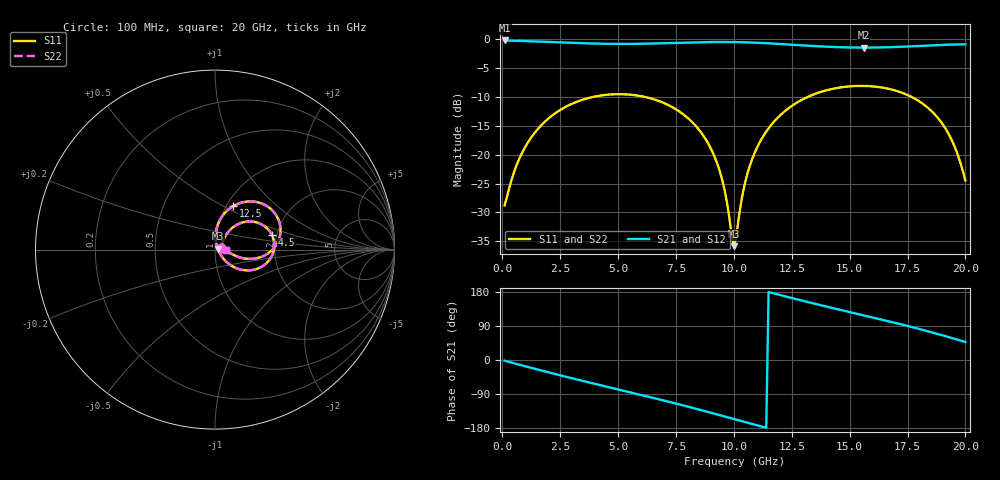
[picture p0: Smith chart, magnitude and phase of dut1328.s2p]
! Touchstone file exported from HFSS 2026.1.0
!  File:  C:/ffzhzh/LocalFiles/Ansys_Project_Files/temp_train_TSV_RDL_1328_1783337720_30076.aedt
!  Generated:  07:42:53 PM Jul  6, 2026
!  Design:  TSV_RDL
!  Project:  temp_train_TSV_RDL_1328_1783337720_30076
! Variables:
!  h_bsmrdl = 3.68um
!  h_ox = 20um
!  h_rdl = 5um
!  h_sub = 64.21um
!  h_tmrdl = 3.4um
!  h_tsv = 64.21um
!  h_via = 3um
!  l_bsmrdl = 300.43um
!  l_sub = 4774.87um
!  l_tmrdl = 842.52um
!  m_sub = 200um
!  pitch = 29.61um
!  r_tsv = 12.28um
!  s_tmrdl = 10um
!  w_bsmrdl = 23.04um
!  w_sub = 500um
!  w_tmrdl = 11.46um
!  x_tsv_center1 = 848.25um
!  x_tsv_center2 = 1171.72um
!  x_tsv_center3 = 2025.7um
!  x_tsv_center4 = 2349.17um
!  x_tsv_center5 = 3203.15um
!  x_tsv_center6 = 3526.62um
# GHz S MA R 50.000000
! Terminal data exported
! Port[1] = TM_RDL1_1_T1
! Port[2] = TM_RDL5_1_T1
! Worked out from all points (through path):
!   200 points, 100 MHz to 20 GHz, reference 50 ohm
!   highest |S21| = -0.30 dB at 100 MHz (marker M1); lowest = -1.5 dB at 15.6 GHz (marker M2)
!   group delay of S21, straight-line fit = 43 ps
!   lowest |S11| = -35.8 dB at 10 GHz (marker M3), VSWR 1.03, Z = 51.6 + j0.463 ohm
!   |S11| at or under -10 dB: start of sweep to 3.984 GHz; 6.098 GHz to 13.22 GHz (7.122 GHz wide, 73.7 % of centre); 17.65 GHz to end of sweep
!   |S22| runs from -35.8 to -8.1 dB; largest |S21 - S12| = 1.6e-14
!   S11 on the Smith chart (normalised r, x): 100 MHz: 1.07, +0.02; 4.5 GHz: 1.89, +0.34; 12.5 GHz: 1.07, +0.56; 20 GHz: 1.13, +0.00
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0.1  0.03646 18.5  0.9657 -1.8  0.9657 -1.8  0.03646 18.5
! Gamma 0 0 0 0
! Port Impedance 50 0 50 0
0.6  0.07932 50.6  0.9589 -10.2  0.9589 -10.2  0.07932 50.6
1.3  0.145 52.2  0.9492 -21.5  0.9492 -21.5  0.145 52.2
2.3  0.2284 42.6  0.9327 -37.3  0.9327 -37.3  0.2284 42.6
3.5  0.2987 27.4  0.9134 -55.5  0.9134 -55.5  0.2987 27.4
4.5  0.3278 14.1  0.9035 -70.2  0.9035 -70.2  0.3279 14.1
6.8  0.288 -17.3  0.9119 -104.1  0.9119 -104.1  0.2881 -17.3
8.1  0.1992 -35.2  0.9279 -124.4  0.9279 -124.4  0.1992 -35.2
9  0.1134 -45.8  0.9358 -139.0  0.9358 -139.0  0.1134 -45.8
9.5  0.06019 -46.4  0.937 -147.3  0.937 -147.3  0.06021 -46.3
10  0.01619 16.1  0.9353 -155.7  0.9353 -155.7  0.01625 16.1
10.1  0.01922 51.2  0.9346 -157.4  0.9346 -157.4  0.01928 51.1
10.4  0.04791 83.9  0.9316 -162.4  0.9316 -162.4  0.04793 83.8
10.9  0.1035 86.6  0.9244 -170.7  0.9244 -170.7  0.1035 86.5
11.6  0.1786 79.3  0.91 177.8  0.91 177.8  0.1786 79.3
12.5  0.2627 67.3  0.8875 163.5  0.8875 163.5  0.2627 67.3
13.4  0.3275 55.0  0.8653 149.8  0.8653 149.8  0.3275 55.0
15.6  0.3913 26.0  0.8375 118.0  0.8375 118.0  0.3913 25.9
16.7  0.3688 11.7  0.844 102.0  0.844 102.0  0.3688 11.6
18.8  0.2084 -14.3  0.8814 68.7  0.8814 68.7  0.2084 -14.4
19.5  0.1217 -17.0  0.8908 56.5  0.8908 56.5  0.1217 -17.2
20  0.05974 0.3  0.8928 47.5  0.8928 47.5  0.05959 -0.1
